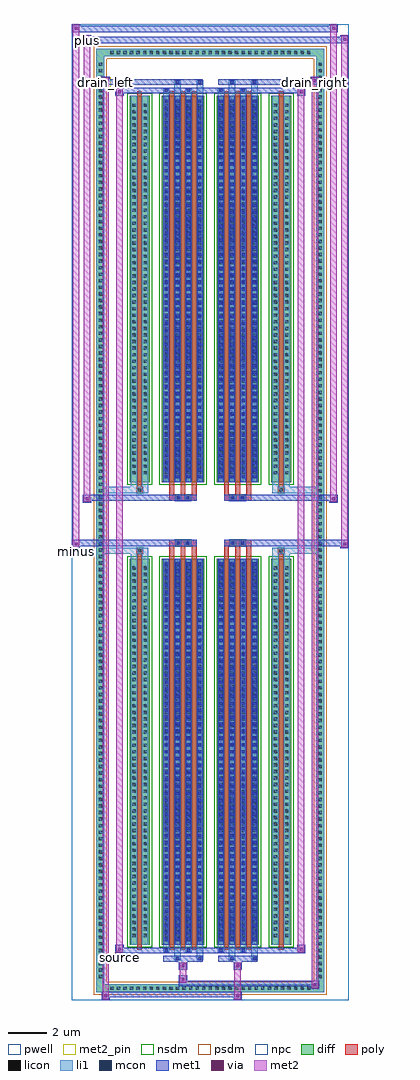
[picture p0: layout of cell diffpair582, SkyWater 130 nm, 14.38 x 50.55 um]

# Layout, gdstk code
import gdstk
lib = gdstk.Library(unit=1e-6, precision=5e-09)
def R(c, l, rs):  # rectangles x0, y0, x1, y1
    for r in rs: c.add(gdstk.rectangle(r[:2], r[2:], *l))
def A(c, l, x, y, w, h, nx, ny, dx, dy):  # array of equal rectangles
    R(c, l, [(x+i*dx, y+j*dy, x+i*dx+w, y+j*dy+h) for i in range(nx) for j in range(ny)])
def P(c, l, *ps):  # polygons
    for p in ps: c.add(gdstk.Polygon(p, *l))
pwell = (64, 44)
diff = (65, 20)
poly = (66, 20)
licon = (66, 44)
li1 = (67, 20)
mcon = (67, 44)
met1 = (68, 20)
via = (68, 44)
met2_pin = (69, 16)
met2 = (69, 20)
nsdm = (93, 44)
psdm = (94, 20)
npc = (95, 20)

diffpair582 = lib.new_cell('diffpair582')
R(diffpair582, pwell, [(-7.17,-24.84,7.17,25.71), (-4.49,-23.03,-0.01,-0.805), (0.01,-23.03,4.49,-0.805), (-4.49,0.805,-0.01,23.03), (0.01,0.805,4.49,23.03)])
A(diffpair582, diff, -5.305, -24.44, 0.41, 0.41, 31, 2, 0.34, 48.47)
A(diffpair582, diff, -5.9, -23.835, 0.41, 0.41, 1, 140, 0, 0.34)
A(diffpair582, diff, 5.49, -23.835, 0.41, 0.41, 1, 140, 0, 0.34)
R(diffpair582, diff, [(-5.305,-24.44,5.305,-24.03), (-5.9,-23.835,-5.49,23.835), (5.49,-23.835,5.9,23.835), (-4.18,-21.985,-3.15,-1.985), (-2.51,-21.985,-0.32,-1.985), (0.32,-21.985,2.51,-1.985), (3.15,-21.985,4.18,-1.985), (-4.18,1.985,-3.15,21.985), (-2.51,1.985,-0.32,21.985), (0.32,1.985,2.51,21.985), (3.15,1.985,4.18,21.985), (-5.305,24.03,5.305,24.44)])
P(diffpair582, diff, [(5.9,24.44),(-5.9,24.44),(-5.9,-24.03),(-5.49,-24.03),(-5.49,24.03),(5.49,24.03),(5.49,-24.03),(-5.49,-24.03),(-5.9,-24.03),(-5.9,-24.44),(5.9,-24.44)])
A(diffpair582, poly, -2.12, -22.235, 0.25, 20.5, 3, 2, 0.58, 23.97)
A(diffpair582, poly, 0.71, -22.235, 0.25, 20.5, 3, 2, 0.58, 23.97)
A(diffpair582, poly, -2.12, -1.735, 0.25, 0.4, 3, 2, 0.58, 3.07)
A(diffpair582, poly, 0.71, -1.735, 0.25, 0.4, 3, 2, 0.58, 3.07)
R(diffpair582, poly, [(-3.79,-22.235,-3.54,-1.735), (3.54,-22.235,3.79,-1.735), (-3.83,-1.735,-3.5,-1.405), (-3.83,-1.735,-3.5,-1.405), (3.5,-1.735,3.83,-1.405), (3.5,-1.735,3.83,-1.405), (-2.12,-1.335,-0.71,-1.005), (-1.83,-1.335,-1.5,-1.005), (-1.33,-1.335,-1,-1.005), (0.71,-1.335,2.12,-1.005), (1,-1.335,1.33,-1.005), (1.5,-1.335,1.83,-1.005), (-2.12,1.005,-0.71,1.335), (-1.83,1.005,-1.5,1.335), (-1.33,1.005,-1,1.335), (0.71,1.005,2.12,1.335), (1,1.005,1.33,1.335), (1.5,1.005,1.83,1.335), (-3.83,1.405,-3.5,1.735), (-3.83,1.405,-3.5,1.735), (3.5,1.405,3.83,1.735), (3.5,1.405,3.83,1.735), (-3.79,1.735,-3.54,22.235), (3.54,1.735,3.79,22.235)])
A(diffpair582, licon, -5.185, -24.32, 0.17, 0.17, 31, 2, 0.34, 48.47)
A(diffpair582, licon, -5.78, -23.715, 0.17, 0.17, 1, 140, 0, 0.34)
A(diffpair582, licon, 5.61, -23.715, 0.17, 0.17, 1, 140, 0, 0.34)
A(diffpair582, licon, -4.04, -21.59, 0.17, 0.17, 1, 57, 0, 0.34)
A(diffpair582, licon, -3.46, -21.59, 0.17, 0.17, 1, 57, 0, 0.34)
A(diffpair582, licon, -2.37, -21.59, 0.17, 0.17, 4, 57, 0.58, 0.34)
A(diffpair582, licon, 0.46, -21.59, 0.17, 0.17, 4, 57, 0.58, 0.34)
A(diffpair582, licon, 3.29, -21.59, 0.17, 0.17, 1, 57, 0, 0.34)
A(diffpair582, licon, 3.87, -21.59, 0.17, 0.17, 1, 57, 0, 0.34)
A(diffpair582, licon, -4.04, 2.38, 0.17, 0.17, 1, 57, 0, 0.34)
A(diffpair582, licon, -3.46, 2.38, 0.17, 0.17, 1, 57, 0, 0.34)
A(diffpair582, licon, -2.37, 2.38, 0.17, 0.17, 4, 57, 0.58, 0.34)
A(diffpair582, licon, 0.46, 2.38, 0.17, 0.17, 4, 57, 0.58, 0.34)
A(diffpair582, licon, 3.29, 2.38, 0.17, 0.17, 1, 57, 0, 0.34)
A(diffpair582, licon, 3.87, 2.38, 0.17, 0.17, 1, 57, 0, 0.34)
R(diffpair582, licon, [(-3.75,-1.655,-3.58,-1.485), (3.58,-1.655,3.75,-1.485), (-1.75,-1.255,-1.58,-1.085), (-1.25,-1.255,-1.08,-1.085), (1.08,-1.255,1.25,-1.085), (1.58,-1.255,1.75,-1.085), (-1.75,1.085,-1.58,1.255), (-1.25,1.085,-1.08,1.255), (1.08,1.085,1.25,1.255), (1.58,1.085,1.75,1.255), (-3.75,1.485,-3.58,1.655), (3.58,1.485,3.75,1.655)])
A(diffpair582, li1, -5.265, -24.4, 0.33, 0.33, 31, 2, 0.34, 48.47)
A(diffpair582, li1, -5.86, -23.795, 0.33, 0.33, 1, 140, 0, 0.34)
A(diffpair582, li1, 5.53, -23.795, 0.33, 0.33, 1, 140, 0, 0.34)
A(diffpair582, li1, -2.45, -21.985, 0.33, 20, 4, 2, 0.58, 23.97)
A(diffpair582, li1, 0.38, -21.985, 0.33, 20, 4, 2, 0.58, 23.97)
A(diffpair582, li1, -2.37, -21.79, 0.17, 0.17, 4, 55, 0.58, 0.36)
A(diffpair582, li1, -2.37, -21.79, 0.17, 19.61, 4, 2, 0.58, 23.97)
A(diffpair582, li1, 0.46, -21.79, 0.17, 0.17, 4, 55, 0.58, 0.36)
A(diffpair582, li1, 0.46, -21.79, 0.17, 19.61, 4, 2, 0.58, 23.97)
A(diffpair582, li1, -4.12, -21.67, 0.33, 0.33, 1, 57, 0, 0.34)
A(diffpair582, li1, -3.54, -21.67, 0.33, 0.33, 1, 57, 0, 0.34)
A(diffpair582, li1, -2.45, -21.67, 0.33, 0.33, 4, 57, 0.58, 0.34)
A(diffpair582, li1, 0.38, -21.67, 0.33, 0.33, 4, 57, 0.58, 0.34)
A(diffpair582, li1, 3.21, -21.67, 0.33, 0.33, 1, 57, 0, 0.34)
A(diffpair582, li1, 3.79, -21.67, 0.33, 0.33, 1, 57, 0, 0.34)
A(diffpair582, li1, -2.37, 2.18, 0.17, 0.17, 4, 55, 0.58, 0.36)
A(diffpair582, li1, 0.46, 2.18, 0.17, 0.17, 4, 55, 0.58, 0.36)
A(diffpair582, li1, -4.12, 2.3, 0.33, 0.33, 1, 57, 0, 0.34)
A(diffpair582, li1, -3.54, 2.3, 0.33, 0.33, 1, 57, 0, 0.34)
A(diffpair582, li1, -2.45, 2.3, 0.33, 0.33, 4, 57, 0.58, 0.34)
A(diffpair582, li1, 0.38, 2.3, 0.33, 0.33, 4, 57, 0.58, 0.34)
A(diffpair582, li1, 3.21, 2.3, 0.33, 0.33, 1, 57, 0, 0.34)
A(diffpair582, li1, 3.79, 2.3, 0.33, 0.33, 1, 57, 0, 0.34)
R(diffpair582, li1, [(-5.9,-24.44,-5.49,-24.03), (-5.9,-24.44,-5.49,-24.03), (-5.49,-24.44,5.49,-24.03), (5.49,-24.44,5.9,-24.03), (5.49,-24.44,5.9,-24.03), (-5.9,-24.03,-5.49,24.03), (5.49,-24.03,5.9,24.03), (-1.87,-22.79,-1.54,-21.985), (-1.79,-22.79,-1.62,-22.62), (-0.71,-22.79,-0.38,-21.985), (-0.63,-22.79,-0.46,-22.62), (0.96,-22.79,1.29,-21.985), (1.04,-22.79,1.21,-22.62), (2.12,-22.79,2.45,-21.985), (2.2,-22.79,2.37,-22.62), (-2.45,-22.36,-2.12,-21.985), (-2.37,-22.36,-2.2,-22.19), (-1.29,-22.36,-0.96,-21.985), (-1.21,-22.36,-1.04,-22.19), (0.38,-22.36,0.71,-21.985), (0.46,-22.36,0.63,-22.19), (1.54,-22.36,1.87,-21.985), (1.62,-22.36,1.79,-22.19), (-4.12,-21.985,-3.79,-1.985), (-3.54,-21.985,-3.21,-1.985), (3.21,-21.985,3.54,-1.985), (3.79,-21.985,4.12,-1.985), (-4.12,-1.985,-3.79,-1.405), (-3.54,-1.985,-3.21,-1.405), (3.21,-1.985,3.54,-1.405), (3.79,-1.985,4.12,-1.405), (-5.9,-1.735,-3.83,-1.405), (-4.12,-1.735,-3.83,-1.405), (-3.83,-1.735,-3.5,-1.405), (-3.5,-1.735,-3.21,-1.405), (3.21,-1.735,3.5,-1.405), (3.5,-1.735,3.83,-1.405), (3.5,-1.735,5.9,-1.405), (3.83,-1.735,4.12,-1.405), (-1.83,-1.335,-1.5,-1.005), (-1.33,-1.335,-1,-1.005), (1,-1.335,1.33,-1.005), (1.5,-1.335,1.83,-1.005), (-1.83,1.005,-1.5,1.335), (-1.33,1.005,-1,1.335), (1,1.005,1.33,1.335), (1.5,1.005,1.83,1.335), (-5.9,1.405,-3.83,1.735), (-4.12,1.405,-3.83,1.735), (-4.12,1.405,-3.79,1.985), (-3.83,1.405,-3.5,1.735), (-3.54,1.405,-3.21,1.985), (-3.5,1.405,-3.21,1.735), (3.21,1.405,3.5,1.735), (3.21,1.405,3.54,1.985), (3.5,1.405,3.83,1.735), (3.5,1.405,5.9,1.735), (3.79,1.405,4.12,1.985), (3.83,1.405,4.12,1.735), (-4.12,1.985,-3.79,21.985), (-3.54,1.985,-3.21,21.985), (3.21,1.985,3.54,21.985), (3.79,1.985,4.12,21.985), (-2.45,21.985,-2.12,22.36), (-1.87,21.985,-1.54,22.79), (-1.29,21.985,-0.96,22.36), (-0.71,21.985,-0.38,22.79), (0.38,21.985,0.71,22.36), (0.96,21.985,1.29,22.79), (1.54,21.985,1.87,22.36), (2.12,21.985,2.45,22.79), (-2.37,22.19,-2.2,22.36), (-1.21,22.19,-1.04,22.36), (0.46,22.19,0.63,22.36), (1.62,22.19,1.79,22.36), (-1.79,22.62,-1.62,22.79), (-0.63,22.62,-0.46,22.79), (1.04,22.62,1.21,22.79), (2.2,22.62,2.37,22.79), (-5.9,24.03,-5.49,24.44), (-5.9,24.03,-5.49,24.44), (-5.49,24.03,5.49,24.44), (5.49,24.03,5.9,24.44), (5.49,24.03,5.9,24.44)])
A(diffpair582, mcon, -2.37, -21.79, 0.17, 0.17, 4, 55, 0.58, 0.36)
A(diffpair582, mcon, 0.46, -21.79, 0.17, 0.17, 4, 55, 0.58, 0.36)
A(diffpair582, mcon, -2.37, 2.18, 0.17, 0.17, 4, 55, 0.58, 0.36)
A(diffpair582, mcon, 0.46, 2.18, 0.17, 0.17, 4, 55, 0.58, 0.36)
R(diffpair582, mcon, [(-1.79,-22.79,-1.62,-22.62), (-0.63,-22.79,-0.46,-22.62), (1.04,-22.79,1.21,-22.62), (2.2,-22.79,2.37,-22.62), (-2.37,-22.36,-2.2,-22.19), (-1.21,-22.36,-1.04,-22.19), (0.46,-22.36,0.63,-22.19), (1.62,-22.36,1.79,-22.19), (-1.75,-1.255,-1.58,-1.085), (-1.25,-1.255,-1.08,-1.085), (1.08,-1.255,1.25,-1.085), (1.58,-1.255,1.75,-1.085), (-1.75,1.085,-1.58,1.255), (-1.25,1.085,-1.08,1.255), (1.08,1.085,1.25,1.255), (1.58,1.085,1.75,1.255), (-2.37,22.19,-2.2,22.36), (-1.21,22.19,-1.04,22.36), (0.46,22.19,0.63,22.36), (1.62,22.19,1.79,22.36), (-1.79,22.62,-1.62,22.79), (-0.63,22.62,-0.46,22.79), (1.04,22.62,1.21,22.79), (2.2,22.62,2.37,22.79)])
A(diffpair582, met1, -2.43, -21.985, 0.29, 20, 4, 2, 0.58, 23.97)
A(diffpair582, met1, 0.4, -21.985, 0.29, 20, 4, 2, 0.58, 23.97)
A(diffpair582, met1, -2.43, -21.85, 0.29, 0.29, 4, 55, 0.58, 0.36)
A(diffpair582, met1, 0.4, -21.85, 0.29, 0.29, 4, 55, 0.58, 0.36)
A(diffpair582, met1, -2.43, 2.12, 0.29, 0.29, 4, 55, 0.58, 0.36)
A(diffpair582, met1, 0.4, 2.12, 0.29, 0.29, 4, 55, 0.58, 0.36)
R(diffpair582, met1, [(-5.63,-24.84,-5.2,-24.41), (1.2,-24.84,1.63,-24.41), (-5.63,-24.7,1.63,-24.41), (5.2,-24.27,5.63,-23.84), (-1.63,-24.13,5.63,-23.84), (-1.63,-23.99,-1.2,-23.56), (-1.63,-23.28,-1.2,-22.85), (1.2,-23.28,1.63,-22.85), (-2.43,-22.85,-0.4,-22.56), (-1.85,-22.85,-1.56,-22.56), (-0.69,-22.85,-0.4,-22.56), (0.4,-22.85,2.43,-22.56), (0.98,-22.85,1.27,-22.56), (2.14,-22.85,2.43,-22.56), (-4.92,-22.42,-4.49,-21.99), (-4.92,-22.42,-2.43,-22.13), (-2.43,-22.42,-2.14,-22.13), (-2.43,-22.42,-0.4,-22.13), (-1.27,-22.42,-0.98,-22.13), (-0.4,-22.42,0.4,-22.13), (0.4,-22.42,0.69,-22.13), (0.4,-22.42,2.43,-22.13), (1.56,-22.42,1.85,-22.13), (2.43,-22.42,4.92,-22.13), (4.49,-22.42,4.92,-21.99), (-7.17,-1.435,-6.74,-1.005), (6.74,-1.435,7.17,-1.005), (-7.17,-1.335,-0.71,-1.005), (-2.12,-1.335,-0.71,-1.005), (0.71,-1.335,2.12,-1.005), (0.71,-1.335,7.17,-1.005), (-1.81,-1.315,-1.52,-1.025), (-1.31,-1.315,-1.02,-1.025), (1.02,-1.315,1.31,-1.025), (1.52,-1.315,1.81,-1.025), (-6.6,0.905,-6.17,1.335), (6.17,0.905,6.6,1.335), (-6.6,1.005,-2.12,1.335), (-2.12,1.005,-0.71,1.335), (0.71,1.005,2.12,1.335), (2.12,1.005,6.6,1.335), (-1.81,1.025,-1.52,1.315), (-1.31,1.025,-1.02,1.315), (1.02,1.025,1.31,1.315), (1.52,1.025,1.81,1.315), (-4.92,21.99,-4.49,22.42), (4.49,21.99,4.92,22.42), (-4.92,22.13,-2.43,22.42), (-2.43,22.13,-2.14,22.42), (-2.43,22.13,-0.4,22.42), (-1.27,22.13,-0.98,22.42), (-0.4,22.13,0.4,22.42), (0.4,22.13,0.69,22.42), (0.4,22.13,2.43,22.42), (1.56,22.13,1.85,22.42), (2.43,22.13,4.92,22.42), (-5.63,22.56,-5.2,22.99), (-5.63,22.56,-2.43,22.85), (-2.43,22.56,-0.4,22.85), (-1.85,22.56,-1.56,22.85), (-0.69,22.56,-0.4,22.85), (0.4,22.56,2.43,22.85), (0.98,22.56,1.27,22.85), (2.14,22.56,2.43,22.85), (2.43,22.56,5.63,22.85), (5.2,22.56,5.63,22.99), (-6.6,24.71,-6.17,25.14), (-6.6,24.71,-4.49,25.04), (-4.49,24.71,4.49,25.04), (4.49,24.71,7.17,25.04), (6.74,24.71,7.17,25.14), (-7.17,25.28,-6.74,25.71), (-7.17,25.28,-4.49,25.61), (-4.49,25.28,4.49,25.61), (4.49,25.28,6.6,25.61), (6.17,25.28,6.6,25.71)])
R(diffpair582, via, [(-5.49,-24.7,-5.34,-24.55), (1.34,-24.7,1.49,-24.55), (5.34,-24.13,5.49,-23.98), (-1.49,-23.85,-1.34,-23.7), (-1.49,-23.14,-1.34,-22.99), (1.34,-23.14,1.49,-22.99), (-4.78,-22.28,-4.63,-22.13), (4.63,-22.28,4.78,-22.13), (-7.03,-1.295,-6.88,-1.145), (6.88,-1.295,7.03,-1.145), (-6.46,1.045,-6.31,1.195), (6.31,1.045,6.46,1.195), (-4.78,22.13,-4.63,22.28), (4.63,22.13,4.78,22.28), (-5.49,22.7,-5.34,22.85), (5.34,22.7,5.49,22.85), (-6.46,24.85,-6.31,25), (6.88,24.85,7.03,25), (-7.03,25.42,-6.88,25.57), (6.31,25.42,6.46,25.57)])
R(diffpair582, met2_pin, [(-4.955,-22.87,-4.455,-22.37), (-7.205,-1.885,-6.705,-1.385), (-5.665,22.44,-5.165,22.94), (5.165,22.44,5.665,22.94), (-6.635,24.59,-6.135,25.09)])
R(diffpair582, met2, [(-5.58,-24.79,-5.25,-24.46), (-5.58,-24.79,-5.25,22.94), (1.25,-24.79,1.58,-24.46), (1.25,-24.46,1.58,-23.23), (5.25,-24.22,5.58,-23.89), (5.25,-24.22,5.58,22.94), (-1.58,-23.94,-1.25,-23.61), (-1.58,-23.61,-1.25,-23.23), (-1.58,-23.23,-1.25,-22.9), (1.25,-23.23,1.58,-22.9), (-4.87,-22.37,-4.54,-22.04), (-4.87,-22.37,-4.54,22.37), (4.54,-22.37,4.87,-22.04), (4.54,-22.37,4.87,22.37), (-7.12,-1.385,-6.79,-1.055), (-7.12,-1.385,-6.79,25.66), (6.79,-1.385,7.12,-1.055), (6.79,-1.385,7.12,25.09), (-6.55,0.955,-6.22,1.285), (-6.55,0.955,-6.22,25.09), (6.22,0.955,6.55,1.285), (6.22,0.955,6.55,25.66), (-4.87,22.04,-4.54,22.37), (4.54,22.04,4.87,22.37), (-5.58,22.61,-5.25,22.94), (5.25,22.61,5.58,22.94), (-6.55,24.76,-6.22,25.09), (6.79,24.76,7.12,25.09), (-7.12,25.33,-6.79,25.66), (6.22,25.33,6.55,25.66)])
P(diffpair582, met2, [(7.12,-1.385),(7.12,-1.385),(7.12,-1.055),(7.12,-1.055)],
  [(7.12,24.76),(7.12,24.76),(7.12,25.09),(7.12,25.09)],
  [(-6.79,-1.385),(-6.79,-1.385),(-6.79,-1.055),(-6.79,-1.055)],
  [(-6.79,25.33),(-6.79,25.33),(-6.79,25.66),(-6.79,25.66)],
  [(6.55,0.955),(6.55,0.955),(6.55,1.285),(6.55,1.285)],
  [(6.55,25.33),(6.55,25.33),(6.55,25.66),(6.55,25.66)],
  [(-6.22,0.955),(-6.22,0.955),(-6.22,1.285),(-6.22,1.285)],
  [(-6.22,24.76),(-6.22,24.76),(-6.22,25.09),(-6.22,25.09)],
  [(-5.25,-24.79),(-5.25,-24.79),(-5.25,-24.46),(-5.25,-24.46)],
  [(-5.25,22.61),(-5.25,22.61),(-5.25,22.94),(-5.25,22.94)],
  [(5.58,-24.22),(5.58,-24.22),(5.58,-23.89),(5.58,-23.89)],
  [(5.58,22.61),(5.58,22.61),(5.58,22.94),(5.58,22.94)],
  [(-4.54,-22.37),(-4.54,-22.37),(-4.54,-22.04),(-4.54,-22.04)],
  [(-4.54,22.04),(-4.54,22.04),(-4.54,22.37),(-4.54,22.37)],
  [(4.87,-22.37),(4.87,-22.37),(4.87,-22.04),(4.87,-22.04)],
  [(4.87,22.04),(4.87,22.04),(4.87,22.37),(4.87,22.37)])
R(diffpair582, nsdm, [(-4.31,-22.115,-3.02,-1.855), (-2.64,-22.115,-0.19,-1.855), (0.19,-22.115,2.64,-1.855), (3.02,-22.115,4.31,-1.855), (-4.31,1.855,-3.02,22.115), (-2.64,1.855,-0.19,22.115), (0.19,1.855,2.64,22.115), (3.02,1.855,4.31,22.115)])
P(diffpair582, psdm, [(6.03,24.57),(-6.03,24.57),(-6.03,-23.9),(-5.36,-23.9),(-5.36,23.9),(5.36,23.9),(5.36,-23.9),(-5.36,-23.9),(-6.03,-23.9),(-6.03,-24.57),(6.03,-24.57)])
R(diffpair582, npc, [(-3.85,-1.755,-3.48,-1.385), (3.48,-1.755,3.85,-1.385), (-1.85,-1.355,-1.48,-0.985), (-1.85,-1.355,-0.98,-0.985), (-1.85,-1.355,-0.98,-0.985), (-1.35,-1.355,-0.98,-0.985), (0.98,-1.355,1.35,-0.985), (0.98,-1.355,1.85,-0.985), (0.98,-1.355,1.85,-0.985), (1.48,-1.355,1.85,-0.985), (-1.85,0.985,-1.48,1.355), (-1.85,0.985,-0.98,1.355), (-1.85,0.985,-0.98,1.355), (-1.35,0.985,-0.98,1.355), (0.98,0.985,1.35,1.355), (0.98,0.985,1.85,1.355), (0.98,0.985,1.85,1.355), (1.48,0.985,1.85,1.355), (-3.85,1.385,-3.48,1.755), (3.48,1.385,3.85,1.755)])
diffpair582.add(gdstk.Label('minus', (-6.955,-1.635), layer=69, texttype=5))
diffpair582.add(gdstk.Label('drain_right', (5.415,22.69), layer=69, texttype=5))
diffpair582.add(gdstk.Label('drain_left', (-5.415,22.69), layer=69, texttype=5))
diffpair582.add(gdstk.Label('source', (-4.705,-22.62), layer=69, texttype=5))
diffpair582.add(gdstk.Label('plus', (-6.385,24.84), layer=69, texttype=5))

lib.write_gds('diffpair582.gds')
